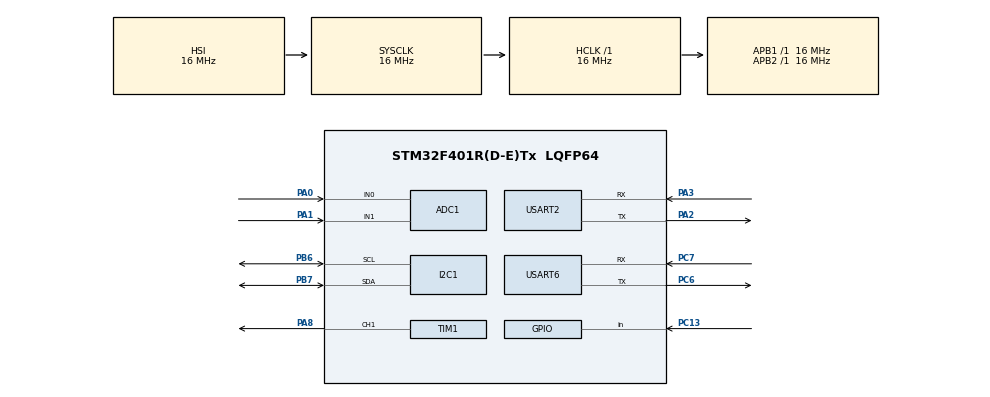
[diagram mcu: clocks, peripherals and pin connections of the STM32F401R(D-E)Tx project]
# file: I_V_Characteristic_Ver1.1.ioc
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ADC1.Channel-1\#ChannelRegularConversion=ADC_CHANNEL_0
ADC1.Channel-2\#ChannelRegularConversion=ADC_CHANNEL_1
ADC1.ContinuousConvMode=ENABLE
ADC1.DMAContinuousRequests=ENABLE
ADC1.NbrOfConversion=2
ADC1.NbrOfConversionFlag=1
ADC1.Rank-1\#ChannelRegularConversion=1
ADC1.Rank-2\#ChannelRegularConversion=2
ADC1.SamplingTime-1\#ChannelRegularConversion=ADC_SAMPLETIME_480CYCLES
ADC1.SamplingTime-2\#ChannelRegularConversion=ADC_SAMPLETIME_480CYCLES
ADC1.ScanConvMode=ENABLE
ADC1.master=1
Dma.ADC1.0.Direction=DMA_PERIPH_TO_MEMORY
Dma.ADC1.0.FIFOMode=DMA_FIFOMODE_DISABLE
Dma.ADC1.0.Instance=DMA2_Stream0
Dma.ADC1.0.MemDataAlignment=DMA_MDATAALIGN_WORD
Dma.ADC1.0.MemInc=DMA_MINC_ENABLE
Dma.ADC1.0.Mode=DMA_CIRCULAR
Dma.ADC1.0.PeriphDataAlignment=DMA_PDATAALIGN_WORD
Dma.ADC1.0.PeriphInc=DMA_PINC_DISABLE
Dma.ADC1.0.Priority=DMA_PRIORITY_LOW
Dma.Request0=ADC1
Mcu.Family=STM32F4
Mcu.Name=STM32F401R(D-E)Tx
Mcu.Package=LQFP64
NVIC.ADC_IRQn=true\:1\:0\:true\:false\:true\:true\:true\:true
NVIC.DMA2_Stream0_IRQn=true\:0\:0\:false\:false\:true\:false\:true\:true
NVIC.PriorityGroup=NVIC_PRIORITYGROUP_4
PA0-WKUP.Signal=ADCx_IN0
PA1.Signal=ADCx_IN1
PA13.Mode=Serial_Wire
PA13.Signal=SYS_JTMS-SWDIO
PA14.Mode=Serial_Wire
PA14.Signal=SYS_JTCK-SWCLK
PA2.Mode=Asynchronous
PA2.Signal=USART2_TX
PA3.Mode=Asynchronous
PA3.Signal=USART2_RX
PA8.Signal=S_TIM1_CH1
PB6.Mode=I2C
PB6.Signal=I2C1_SCL
PB7.Mode=I2C
PB7.Signal=I2C1_SDA
PC13-ANTI_TAMP.GPIO_PuPd=GPIO_PULLUP
PC13-ANTI_TAMP.Signal=GPIO_Input
PC6.Mode=Asynchronous
PC6.Signal=USART6_TX
PC7.Mode=Asynchronous
PC7.Signal=USART6_RX
ProjectManager.HeapSize=0x200
ProjectManager.StackSize=0x400
ProjectManager.TargetToolchain=STM32CubeIDE
RCC.AHBFreq_Value=16000000
RCC.APB1Freq_Value=16000000
RCC.APB2Freq_Value=16000000
RCC.CortexFreq_Value=16000000
RCC.HSE_VALUE=25000000
RCC.HSI_VALUE=16000000
RCC.LSE_VALUE=32768
RCC.SYSCLKFreq_VALUE=16000000
RCC.VCOOutputFreq_Value=192000000
SH.ADCx_IN0.0=ADC1_IN0,IN0
SH.ADCx_IN1.0=ADC1_IN1,IN1
SH.S_TIM1_CH1.0=TIM1_CH1,PWM Generation1 CH1
TIM1.Channel-PWM\ Generation1\ CH1=TIM_CHANNEL_1
TIM1.Period=1599
USART2.VirtualMode=VM_ASYNC
USART6.VirtualMode=VM_ASYNC
board=custom

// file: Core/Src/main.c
/* USER CODE BEGIN Header */
/**
  ******************************************************************************
  * @file           : main.c
  * @brief          : Main program body
  ******************************************************************************
  * @attention
  *
  * Copyright (c) 2026 STMicroelectronics.
  * All rights reserved.
  *
  * This software is licensed under terms that can be found in the LICENSE file
  * in the root directory of this software component.
  * If no LICENSE file comes with this software, it is provided AS-IS.
  *
  ******************************************************************************
  */
/* USER CODE END Header */
#include "main.h"
#include "adc.h"
#include "dma.h"
#include "i2c.h"
#include "tim.h"
#include "usart.h"
#include "gpio.h"

/* USER CODE BEGIN Includes */
#include <stdbool.h>
#include <stdio.h>
#include "string.h"
#include "ssd1306.h"
#include "ssd1306_fonts.h"
#include "ssd1306_tests.h"
/* USER CODE END Includes */

/* USER CODE BEGIN PD */
#define RESISTOR 218.5f
/* USER CODE END PD */

/* USER CODE BEGIN PV */
uint16_t adc_val1 = 0;
uint16_t adc_val2 = 0;
uint16_t adc_val1_tb = 0;
uint16_t adc_val2_tb = 0;
uint32_t readValues[2];
char buffer[100];

float v_out = 0.0f;
float v_diode = 0.0f;
float i_diode = 0.0f;
/* USER CODE END PV */

void SystemClock_Config(void);

/* USER CODE BEGIN 0 */
void calculator(uint16_t adc_val_out, uint16_t adc_val_diode)
{
    v_out   = ((float)adc_val_out   * 3.3f) / 4095.0f;
    v_diode = ((float)adc_val_diode * 3.3f) / 4095.0f;
    i_diode = (v_out - v_diode) * 1000.0f / RESISTOR;   // mA

    if (i_diode < 0) i_diode = 0;
}
/* USER CODE END 0 */

int main(void)
{

  /* MCU Configuration--------------------------------------------------------*/

  /* Reset of all peripherals, Initializes the Flash interface and the Systick. */
  HAL_Init();

  /* Configure the system clock */
  SystemClock_Config();

  /* Initialize all configured peripherals */
  MX_GPIO_Init();
  MX_DMA_Init();
  MX_ADC1_Init();
  MX_I2C1_Init();
  MX_TIM1_Init();
  MX_USART2_UART_Init();
  MX_USART6_UART_Init();
  /* USER CODE BEGIN 2 */
  HAL_TIM_PWM_Start(&htim1, TIM_CHANNEL_1);
  HAL_ADC_Start_DMA(&hadc1, (uint32_t *) readValues, 2);
  ssd1306_Init();

  uint16_t pwm = 0;
  bool start = false;
  uint8_t finished = 0;

  char header[] = "PWM, V_out, V_d, I_d(mA)\r\n";
  /* USER CODE END 2 */

  /* Infinite loop */
  while (1)
  {
	if(HAL_GPIO_ReadPin(GPIOC, GPIO_PIN_13) == 0)
	{
		while(HAL_GPIO_ReadPin(GPIOC, GPIO_PIN_13) == 0) {}
		start = !start;
		HAL_UART_Transmit(&huart2, (uint8_t*)header, strlen(header), HAL_MAX_DELAY);
	}

	if (!finished && start)
	{
		__HAL_TIM_SET_COMPARE(&htim1, TIM_CHANNEL_1, pwm);
        HAL_Delay(50);

        uint32_t adc_val1_sum = 0;
        uint32_t adc_val2_sum = 0;

        for (uint8_t sample = 0; sample < 16; sample++)
        {
        	for (uint8_t i = 0; i < hadc1.Init.NbrOfConversion; i++)
        	{
				adc_val1 = (uint16_t)readValues[0];
				adc_val2 = (uint16_t)readValues[1];
        	}
            adc_val1_sum += adc_val1;
            adc_val2_sum += adc_val2;

            HAL_Delay(1);
        }

        adc_val1_tb = adc_val1_sum / 16;
        adc_val2_tb = adc_val2_sum / 16;

        calculator(adc_val1_tb, adc_val2_tb);

        int len = snprintf(buffer, sizeof(buffer),
                           "%u, %.4f, %.4f, %.4f\r\n",
                           pwm, v_out, v_diode, i_diode);

        HAL_UART_Transmit(&huart2, (uint8_t*)buffer, len, HAL_MAX_DELAY);

        if (pwm < 1599)
        {
            pwm += 1;
        }
        else
        {
            char end_msg[] = "END\r\n";
            HAL_UART_Transmit(&huart2, (uint8_t*)end_msg, strlen(end_msg), HAL_MAX_DELAY);
            finished = 1;
        }

        HAL_Delay(10);
  	}
  }
}

void SystemClock_Config(void)
{
  RCC_OscInitTypeDef RCC_OscInitStruct = {0};
  RCC_ClkInitTypeDef RCC_ClkInitStruct = {0};

  /** Configure the main internal regulator output voltage
  */
  __HAL_RCC_PWR_CLK_ENABLE();
  __HAL_PWR_VOLTAGESCALING_CONFIG(PWR_REGULATOR_VOLTAGE_SCALE2);

  /** Initializes the RCC Oscillators according to the specified parameters
  * in the RCC_OscInitTypeDef structure.
  */
  RCC_OscInitStruct.OscillatorType = RCC_OSCILLATORTYPE_HSI;
  RCC_OscInitStruct.HSIState = RCC_HSI_ON;
  RCC_OscInitStruct.HSICalibrationValue = RCC_HSICALIBRATION_DEFAULT;
  RCC_OscInitStruct.PLL.PLLState = RCC_PLL_NONE;
  if (HAL_RCC_OscConfig(&RCC_OscInitStruct) != HAL_OK)
  {
    Error_Handler();
  }

  /** Initializes the CPU, AHB and APB buses clocks
  */
  RCC_ClkInitStruct.ClockType = RCC_CLOCKTYPE_HCLK|RCC_CLOCKTYPE_SYSCLK
                              |RCC_CLOCKTYPE_PCLK1|RCC_CLOCKTYPE_PCLK2;
  RCC_ClkInitStruct.SYSCLKSource = RCC_SYSCLKSOURCE_HSI;
  RCC_ClkInitStruct.AHBCLKDivider = RCC_SYSCLK_DIV1;
  RCC_ClkInitStruct.APB1CLKDivider = RCC_HCLK_DIV1;
  RCC_ClkInitStruct.APB2CLKDivider = RCC_HCLK_DIV1;

  if (HAL_RCC_ClockConfig(&RCC_ClkInitStruct, FLASH_LATENCY_0) != HAL_OK)
  {
    Error_Handler();
  }
}

void Error_Handler(void)
{
  __disable_irq();
  while (1)
  {
  }
}
